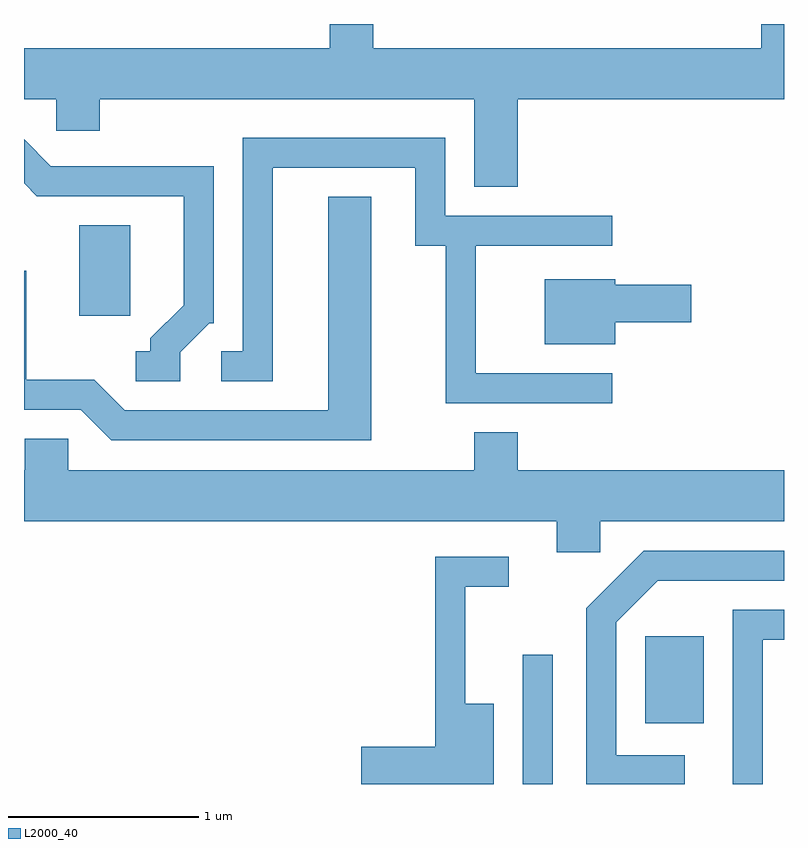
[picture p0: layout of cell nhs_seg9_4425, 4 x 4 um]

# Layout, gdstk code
import gdstk
lib = gdstk.Library(unit=1e-6, precision=1e-09)
def R(c, l, rs):  # rectangles x0, y0, x1, y1
    for r in rs: c.add(gdstk.rectangle(r[:2], r[2:], *l))
def P(c, l, *ps):  # polygons
    for p in ps: c.add(gdstk.Polygon(p, *l))
L2000_40 = (2000, 40)

nhs_seg9_4425 = lib.new_cell('nhs_seg9_4425')
R(nhs_seg9_4425, L2000_40, [(318.236,1990.432,318.394,1991.113), (318.881,1990.751,319.189,1991.209), (315.901,1992.896,316.169,1993.374)])
P(nhs_seg9_4425, L2000_40, [(318.209,1994.036),(319.611,1994.036),(319.611,1994.432),(319.491,1994.432),(319.491,1994.304),(317.449,1994.304),(317.449,1994.432),(317.221,1994.432),(317.221,1994.304),(315.611,1994.304),(315.611,1994.036),(315.781,1994.036),(315.781,1993.871),(316.009,1993.871),(316.009,1994.036),(317.981,1994.036),(317.981,1993.576),(318.209,1993.576)],
  [(318.708,1992.594),(317.989,1992.594),(317.989,1993.266),(318.708,1993.266),(318.708,1993.424),(317.829,1993.424),(317.829,1993.834),(316.761,1993.834),(316.761,1992.709),(316.648,1992.709),(316.648,1992.551),(316.919,1992.551),(316.919,1993.676),(317.671,1993.676),(317.671,1993.266),(317.831,1993.266),(317.831,1992.436),(318.708,1992.436)],
  [(316.434,1992.704),(316.587,1992.856),(316.609,1992.856),(316.609,1993.684),(315.752,1993.684),(315.611,1993.825),(315.611,1993.594),(315.679,1993.526),(316.451,1993.526),(316.451,1992.952),(316.276,1992.777),(316.276,1992.709),(316.198,1992.709),(316.198,1992.551),(316.434,1992.551)],
  [(317.439,1993.524),(317.211,1993.524),(317.211,1992.399),(316.142,1992.399),(315.982,1992.559),(315.624,1992.559),(315.624,1993.133),(315.611,1993.133),(315.611,1992.401),(315.909,1992.401),(316.069,1992.241),(317.439,1992.241)],
  [(318.724,1992.861),(319.124,1992.861),(319.124,1993.059),(318.724,1993.059),(318.724,1993.089),(318.351,1993.089),(318.351,1992.746),(318.724,1992.746)],
  [(318.644,1991.816),(319.611,1991.816),(319.611,1992.084),(318.209,1992.084),(318.209,1992.284),(317.981,1992.284),(317.981,1992.084),(315.844,1992.084),(315.844,1992.249),(315.616,1992.249),(315.616,1992.084),(315.611,1992.084),(315.611,1991.816),(318.416,1991.816),(318.416,1991.651),(318.644,1991.651)],
  [(319.088,1990.584),(318.729,1990.584),(318.729,1991.284),(318.947,1991.501),(319.611,1991.501),(319.611,1991.659),(318.874,1991.659),(318.571,1991.357),(318.571,1990.432),(319.088,1990.432)],
  [(318.084,1990.854),(317.934,1990.854),(317.934,1991.471),(318.163,1991.471),(318.163,1991.629),(317.776,1991.629),(317.776,1990.629),(317.386,1990.629),(317.386,1990.432),(318.084,1990.432)],
  [(319.499,1991.191),(319.611,1991.191),(319.611,1991.349),(319.341,1991.349),(319.341,1990.432),(319.499,1990.432)])

lib.write_gds('nhs_seg9_4425.gds')
